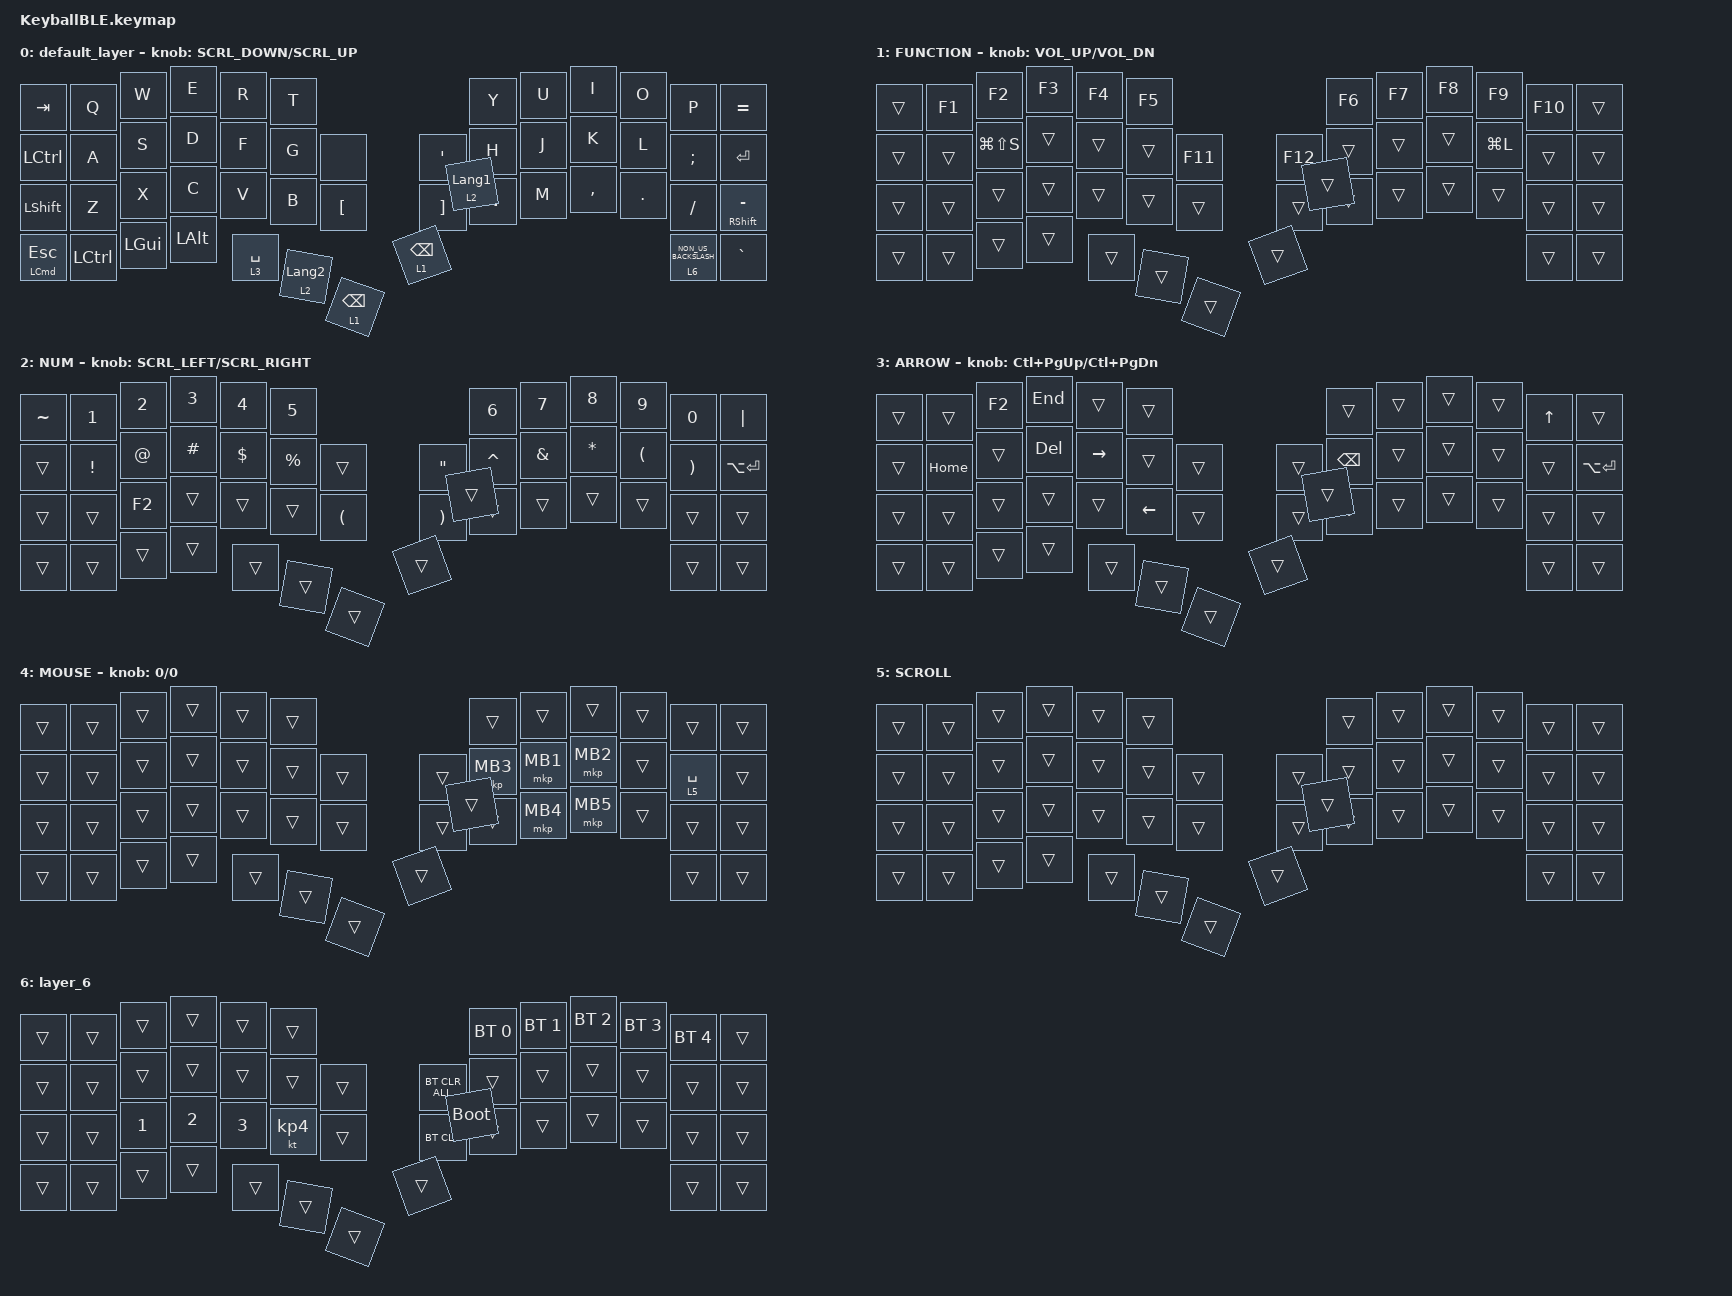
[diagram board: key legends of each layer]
#define ZMK_POINTING_DEFAULT_SCRL_VAL 120    // default: 10

#include <behaviors.dtsi>
#include <dt-bindings/zmk/bt.h>
#include <dt-bindings/zmk/keys.h>
#include <dt-bindings/zmk/pointing.h>

#define MOUSE 4
#define SCROLL 5
#define NUM 6

&mt {
    flavor = "balanced";
    quick-tap-ms = <0>;
};

/ {
    combos {
        compatible = "zmk,combos";

        double_quotation {
            bindings = <&kp DOUBLE_QUOTES>;
            key-positions = <20 21>;
        };
    };

    macros {
        to_layer_0: to_layer_0 {
            compatible = "zmk,behavior-macro-one-param";
            #binding-cells = <1>;
            bindings = <&to 0 &macro_param_1to1 &kp MACRO_PLACEHOLDER>;
            label = "TO_LAYER_0";
        };
    };

    behaviors {
        lt_to_layer_0: lt_to_layer_0 {
            compatible = "zmk,behavior-hold-tap";
            label = "LAYER_TAP_TO_0";
            bindings = <&mo>, <&to_layer_0>;

            #binding-cells = <2>;
            tapping-term-ms = <200>;
        };

        ROTATE: ROTATE {
            compatible = "zmk,behavior-sensor-rotate-var";
            label = "ROTATE";
            #sensor-binding-cells = <2>;
            bindings = <&msc>, <&msc>;

            tap-ms = <20>;
        };
    };

    keymap {
        compatible = "zmk,keymap";

        default_layer {
            bindings = <
&kp TAB                  &kp Q      &kp W     &kp E         &kp R        &kp T                                                    &kp Y             &kp U  &kp I      &kp O    &kp P                   &kp EQUAL
&kp LEFT_CONTROL         &kp A      &kp S     &kp D         &kp F        &kp G             &none               &kp SQT            &kp H             &kp J  &kp K      &kp L    &kp SEMICOLON           &kp ENTER
&kp LSHFT                &kp Z      &kp X     &kp C         &kp V        &kp B             &kp LEFT_BRACKET    &kp RIGHT_BRACKET  &kp N             &kp M  &kp COMMA  &kp DOT  &kp FSLH                &mt RSHFT MINUS
&mt LEFT_COMMAND ESCAPE  &kp LCTRL  &kp LGUI  &kp LEFT_ALT  &lt 3 SPACE  &lt 2 LANGUAGE_2  &lt 1 BACKSPACE     &lt 1 BACKSPACE    &lt 2 LANGUAGE_1                             &lt 6 NON_US_BACKSLASH  &kp GRAVE
            >;

            sensor-bindings = <&ROTATE SCRL_DOWN SCRL_UP>;
        };

        FUNCTION {
            bindings = <
&trans  &kp F1  &kp F2         &kp F3  &kp F4  &kp F5                      &kp F6  &kp F7  &kp F8  &kp F9     &kp F10  &trans
&trans  &trans  &kp LG(LS(S))  &trans  &trans  &trans  &kp F11    &kp F12  &trans  &trans  &trans  &kp LG(L)  &trans   &trans
&trans  &trans  &trans         &trans  &trans  &trans  &trans     &trans   &trans  &trans  &trans  &trans     &trans   &trans
&trans  &trans  &trans         &trans  &trans  &trans  &trans     &trans   &trans                             &trans   &trans
            >;

            sensor-bindings = <&inc_dec_kp C_VOL_UP C_VOL_DN>;
        };

        NUM {
            bindings = <
&kp TILDE  &kp N1           &kp N2       &kp N3    &kp N4      &kp N5                                                      &kp N6     &kp N7         &kp N8        &kp N9                &kp N0                 &kp PIPE
&trans     &kp EXCLAMATION  &kp AT_SIGN  &kp HASH  &kp DOLLAR  &kp PERCENT  &trans                  &kp DOUBLE_QUOTES      &kp CARET  &kp AMPERSAND  &kp ASTERISK  &kp LEFT_PARENTHESIS  &kp RIGHT_PARENTHESIS  &kp LA(ENTER)
&trans     &trans           &kp F2       &trans    &trans      &trans       &kp LEFT_PARENTHESIS    &kp RIGHT_PARENTHESIS  &trans     &trans         &trans        &trans                &trans                 &trans
&trans     &trans           &trans       &trans    &trans      &trans       &trans                  &trans                 &trans                                                        &trans                 &trans
            >;

            sensor-bindings = <&ROTATE SCRL_LEFT SCRL_RIGHT>;
        };

        ARROW {
            bindings = <
&trans  &trans    &kp F2  &kp END     &trans           &trans                      &trans         &trans  &trans  &trans  &kp UP_ARROW  &trans
&trans  &kp HOME  &trans  &kp DELETE  &kp RIGHT_ARROW  &trans    &trans    &trans  &kp BACKSPACE  &trans  &trans  &trans  &trans        &kp LA(ENTER)
&trans  &trans    &trans  &trans      &trans           &kp LEFT  &trans    &trans  &kp DOWN       &trans  &trans  &trans  &trans        &trans
&trans  &trans    &trans  &trans      &trans           &trans    &trans    &trans  &trans                                 &trans        &trans
            >;

            sensor-bindings = <&inc_dec_kp LC(PAGE_UP) LC(PAGE_DOWN)>;
        };

        MOUSE {
            bindings = <
&trans  &trans  &trans  &trans  &trans  &trans                    &trans    &trans    &trans    &trans  &trans       &trans
&trans  &trans  &trans  &trans  &trans  &trans  &trans    &trans  &mkp MB3  &mkp MB1  &mkp MB2  &trans  &lt 5 SPACE  &trans
&trans  &trans  &trans  &trans  &trans  &trans  &trans    &trans  &trans    &mkp MB4  &mkp MB5  &trans  &trans       &trans
&trans  &trans  &trans  &trans  &trans  &trans  &trans    &trans  &trans                                &trans       &trans
            >;

            sensor-bindings = <&inc_dec_kp 0 0>;
        };

        SCROLL {
            bindings = <
&trans  &trans  &trans  &trans  &trans  &trans                    &trans  &trans  &trans  &trans  &trans  &trans
&trans  &trans  &trans  &trans  &trans  &trans  &trans    &trans  &trans  &trans  &trans  &trans  &trans  &trans
&trans  &trans  &trans  &trans  &trans  &trans  &trans    &trans  &trans  &trans  &trans  &trans  &trans  &trans
&trans  &trans  &trans  &trans  &trans  &trans  &trans    &trans  &trans                          &trans  &trans
            >;
        };

        layer_6 {
            bindings = <
&trans  &trans  &trans        &trans        &trans        &trans                               &bt BT_SEL 0  &bt BT_SEL 1  &bt BT_SEL 2  &bt BT_SEL 3  &bt BT_SEL 4  &trans
&trans  &trans  &trans        &trans        &trans        &trans     &trans    &bt BT_CLR_ALL  &trans        &trans        &trans        &trans        &trans        &trans
&trans  &trans  &kp NUMBER_1  &kp NUMBER_2  &kp NUMBER_3  &kt KP_N4  &trans    &bt BT_CLR      &trans        &trans        &trans        &trans        &trans        &trans
&trans  &trans  &trans        &trans        &trans        &trans     &trans    &trans          &bootloader                                             &trans        &trans
            >;
        };
    };
};
